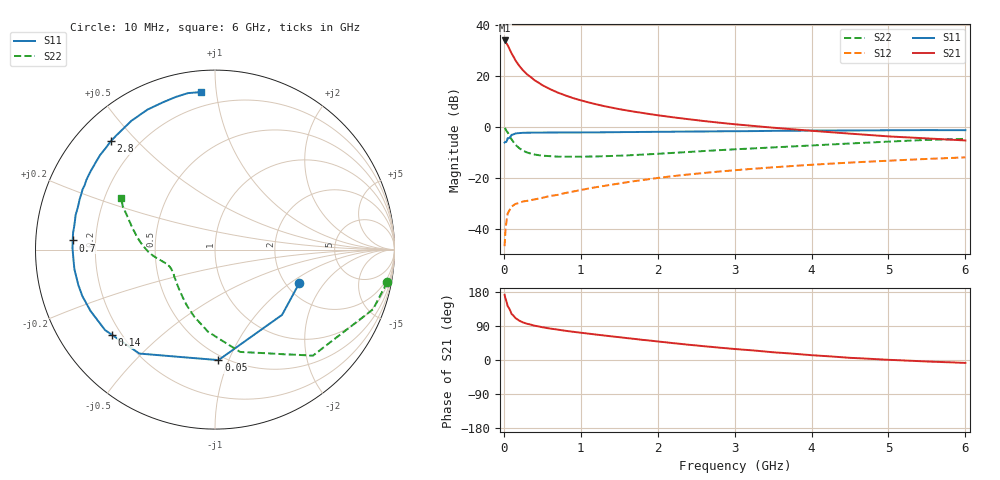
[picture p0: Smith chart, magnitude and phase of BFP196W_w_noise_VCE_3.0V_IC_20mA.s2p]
! (c) 2017  Infineon Technologies AG, Munich
! Infineon Technologies  Discrete & RF Semiconductors
! BFP196W
! VCE =  3.0 V,  IC =  20 mA
! Common Emitter S-Parameters:  Jan 2017
# GHz  S  MA  R  50
!  f  S11  S21  S12  S22
! GHz  MAG  ANG  MAG  ANG  MAG  ANG  MAG  ANG
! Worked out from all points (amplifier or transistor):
!   77 points, 10 MHz to 6 GHz, reference 50 ohm
!   highest |S21| = 34.1 dB at 10 MHz (marker M1)
!   |S21| within 3 dB of that: start of sweep to 68.13 MHz
!   unconditionally stable (mu >= 1): 950.5 MHz to 3.296 GHz
!   at 130 MHz: K = 0.24, MSG = 29.0 dB, |S12| = -30.4 dB
!   at 2.2 GHz: K = 1.06, MAG = 10.0 dB, |S12| = -19.1 dB
!   at 6 GHz: K = 0.93, MSG = 3.3 dB, |S12| = -11.7 dB
!   lowest NFmin = 1.02 dB at 450 MHz
!   S11 on the Smith chart (normalised r, x): 10 MHz: 2.34, -1.19; 50 MHz: 0.46, -0.92; 140 MHz: 0.16, -0.35; 700 MHz: 0.11, +0.03; 2.8 GHz: 0.10, +0.42; 6 GHz: 0.12, +0.91
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0.01  0.5051 -21.9  50.53 172.1  0.0047 81.8  0.9762 -10.7
0.02  0.5214 -44.2  48.87 163.1  0.0091 76.4  0.9413 -20.7
0.05  0.616 -88.2  40.79 142.2  0.0205 57.2  0.8043 -47.3
0.1  0.7161 -126.0  28.27 121.6  0.0279 41.9  0.5871 -76.2
0.14  0.745 -140.4  22.16 113.5  0.0308 35.9  0.4804 -90.3
0.15  0.7592 -143.8  20.73 110.8  0.0316 34.6  0.4596 -94.8
0.2  0.7733 -153.8  16.1 103.9  0.033 33.2  0.3917 -107.1
0.25  0.7832 -160.7  13.1 99.1  0.0354 32.0  0.3492 -116.6
0.3  0.7866 -165.5  11.02 95.7  0.0363 32.9  0.3223 -123.7
0.4  0.7909 -172.1  8.377 90.4  0.0388 35.4  0.2935 -134.1
0.5  0.7908 -176.8  6.723 86.5  0.0417 38.5  0.2792 -141.1
0.6  0.794 179.4  5.626 83.0  0.0453 41.1  0.2728 -146.1
0.7  0.7946 176.3  4.82 80.2  0.0476 43.6  0.2673 -149.6
0.9  0.7951 170.8  3.752 74.5  0.0553 47.3  0.2662 -154.5
1.1  0.8002 166.1  3.091 69.6  0.0633 50.0  0.2684 -157.7
1.5  0.8063 157.7  2.28 60.2  0.0795 52.3  0.279 -162.9
2.1  0.8204 145.9  1.652 46.8  0.1064 52.2  0.3099 -169.1
2.8  0.838 133.9  1.236 32.6  0.1363 49.1  0.3578 -176.0
3.1  0.8425 129.2  1.117 27.5  0.1486 47.1  0.3781 -179.3
4.1  0.866 114.5  0.836 11.4  0.1889 40.4  0.45 169.1
5.1  0.879 103.5  0.654 -0.3  0.226 33.0  0.5346 157.9
6  0.8812 94.9  0.554 -7.7  0.2586 26.1  0.5955 151.4
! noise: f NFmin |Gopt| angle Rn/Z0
0.45  1.02  0.4  170  0.05
0.9  1.2  0.51  178  0.05
1.9  2.11  0.69  -155  0.11
2.4  2.55  0.74  -147  0.2
